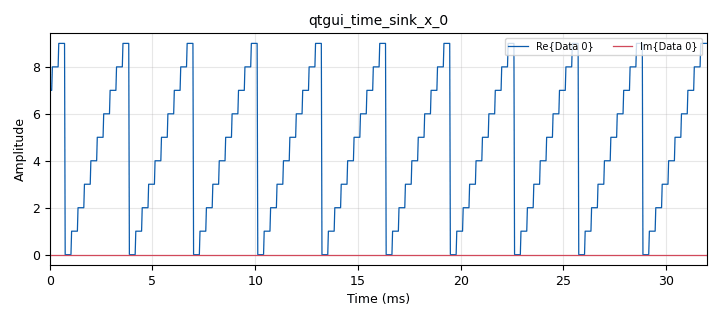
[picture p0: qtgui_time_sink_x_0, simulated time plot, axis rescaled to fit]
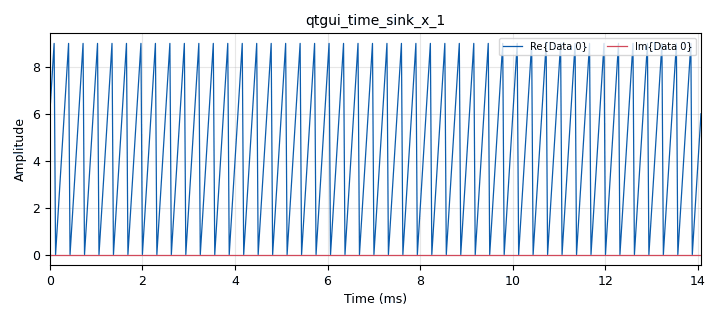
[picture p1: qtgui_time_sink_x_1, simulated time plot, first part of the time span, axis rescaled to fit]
options:
  parameters:
    author: yango
    generate_options: qt_gui
    id: tagInterpolate
    output_language: python
    title: Not titled yet
  states: {}

blocks:
- name: samp_rate
  id: variable
  parameters:
    value: '32000'
  states: {}
- name: blocks_add_xx_0
  id: blocks_add_xx
  parameters:
    type: complex
  states: {}
- name: blocks_repeat_0
  id: blocks_repeat
  parameters:
    interp: '10'
    type: complex
  states: {}
- name: blocks_tags_strobe_0
  id: blocks_tags_strobe
  parameters:
    key: pmt.intern("strobe")
    nsamps: '10'
    type: complex
    value: pmt.intern("TEST")
  states: {}
- name: blocks_throttle_0
  id: blocks_throttle
  parameters:
    samples_per_second: samp_rate
    type: complex
  states: {}
- name: blocks_vector_source_x_0
  id: blocks_vector_source_x
  parameters:
    repeat: 'True'
    type: complex
    vector: range(10)
  states: {}
- name: qtgui_time_sink_x_0
  id: qtgui_time_sink_x
  parameters:
    size: '1024'
    srate: samp_rate
    type: complex
  states: {}
- name: qtgui_time_sink_x_1
  id: qtgui_time_sink_x
  parameters:
    size: '1024'
    srate: samp_rate
    type: complex
  states: {}

connections:
- [blocks_add_xx_0, '0', blocks_throttle_0, '0']
- [blocks_repeat_0, '0', qtgui_time_sink_x_0, '0']
- [blocks_tags_strobe_0, '0', blocks_add_xx_0, '1']
- [blocks_throttle_0, '0', blocks_repeat_0, '0']
- [blocks_throttle_0, '0', qtgui_time_sink_x_1, '0']
- [blocks_vector_source_x_0, '0', blocks_add_xx_0, '0']

metadata:
  file_format: 1
